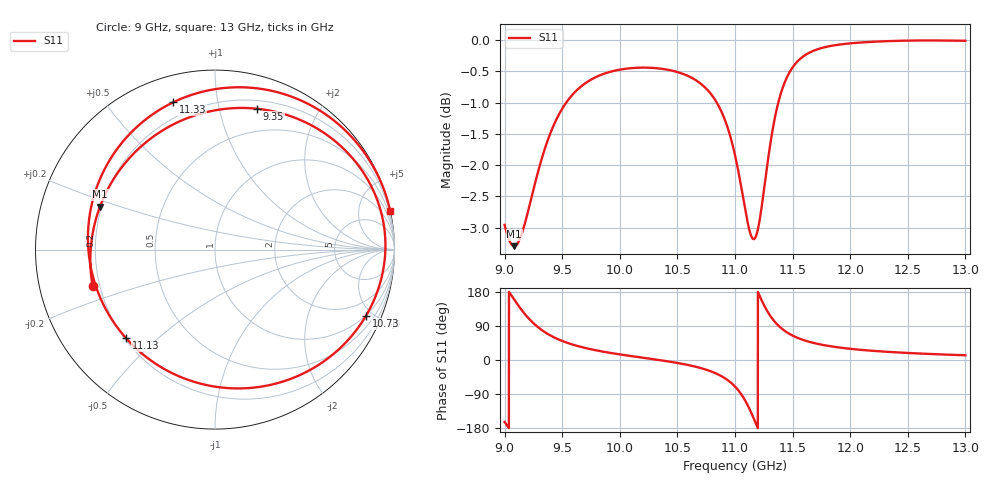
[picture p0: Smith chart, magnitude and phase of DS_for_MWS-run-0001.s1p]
! TOUCHSTONE file generated by CST DESIGN STUDIO
! Date and time: Tue Feb  4 13:54:21 2025
! Project name: C:\Work\MatlabApps\UnitCellOptimizationMatlab\CST\unitcell.cst
! Tree item: Tasks\Sweep1\SPara1\S-Parameters
! Header version: 2024
! Port assignment regex: !\s*Touchstone port\s*([0-9]+)\s*=\s*(CST MWS port|CST DES external port|CST DES block port)\s*(.+)\s* \(\"(.*)\"\)(\s*mode\s*([0-9]+))?.*
! Touchstone port assignment:
! Touchstone port 1 = CST DES external port 1 ("")
# GHz S MA R 50
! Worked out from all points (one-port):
!   4001 points, 9 GHz to 13 GHz, reference 50 ohm
!   lowest |S11| = -3.3 dB at 9.083 GHz (marker M1), VSWR 5.33, Z = 9.67 + j8.72 ohm
!   |S11| at or under -10 dB: nowhere
!   S11 on the Smith chart (normalised r, x): 9 GHz: 0.17, -0.14; 9.35 GHz: 0.27, +1.31; 10.73 GHz: 0.97, -4.57; 11.13 GHz: 0.21, -0.40; 11.33 GHz: 0.12, +0.75; 13 GHz: 0.04, +9.12
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9  0.7115 -163.5
9.083  0.6841 159.5
9.147  0.699 132.2
9.208  0.7323 110.0
9.273  0.7739 90.9
9.35  0.8192 73.4
9.5  0.8813 50.3
9.709  0.9249 31.1
10  0.9472 14.8
10.5  0.943 -7.8
10.73  0.9185 -23.7
10.885  0.8756 -43.1
10.946  0.8456 -55.3
11  0.8091 -70.0
11.074  0.7448 -99.6
11.105  0.7183 -116.3
11.135  0.6994 -135.1
11.18  0.6961 -166.7
11.221  0.7245 164.4
11.278  0.7919 130.1
11.332  0.8533 105.8
11.4  0.9078 84.3
11.5  0.9511 64.4
11.587  0.9698 53.4
11.694  0.9818 44.1
12  0.9942 29.5
12.5  0.9993 18.5
13  0.999 12.5
